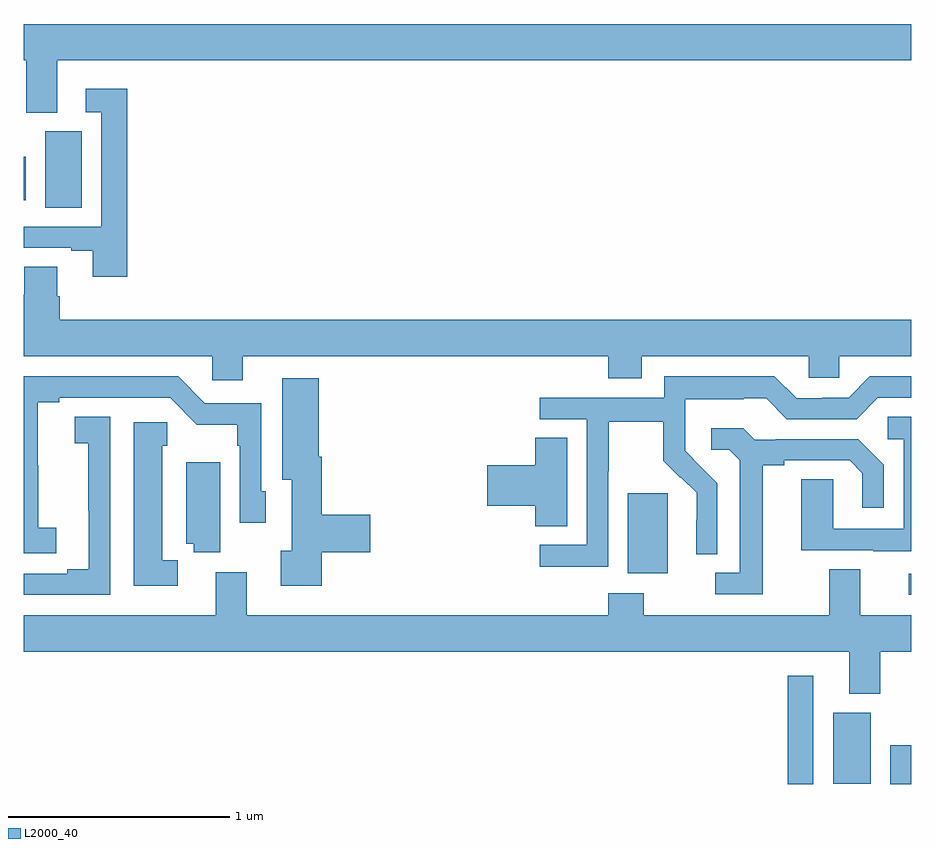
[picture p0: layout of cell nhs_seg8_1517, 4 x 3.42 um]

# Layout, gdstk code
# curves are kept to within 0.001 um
import gdstk
lib = gdstk.Library(unit=1e-6, precision=1e-09)
def R(c, l, rs):  # rectangles x0, y0, x1, y1
    for r in rs: c.add(gdstk.rectangle(r[:2], r[2:], *l))
def P(c, l, *ps):  # polygons
    for p in ps: c.add(gdstk.Polygon(p, *l))
L2000_40 = (2000, 40)

nhs_seg8_1517 = lib.new_cell('nhs_seg8_1517')
R(nhs_seg8_1517, L2000_40, [(210.442,1119.9,210.558,1120.387), (210.905,1119.9,211,1120.075), (210.647,1119.902,210.817,1120.222), (210.987,1120.752,211,1120.848), (209.723,1120.85,209.902,1121.211), (207.098,1122.496,207.262,1122.84), (207,1122.531,207.01,1122.727)])
P(nhs_seg8_1517, L2000_40, [(207.151,1123.16),(211,1123.16),(211,1123.324),(207,1123.324),(207,1123.16),(207.011,1123.16),(207.011,1122.925),(207.151,1122.925)],
  [(207.467,1123.033),(207.279,1123.033),(207.279,1122.927),(207.351,1122.927),(207.351,1122.411),(207,1122.411),(207,1122.315),(207.215,1122.315),(207.215,1122.303),(207.311,1122.303),(207.311,1122.186),(207.467,1122.186)],
  [(207.988,1121.828),(209.633,1121.828),(209.633,1121.729),(209.785,1121.729),(209.785,1121.828),(210.537,1121.828),(210.537,1121.73),(210.675,1121.73),(210.675,1121.828),(211,1121.828),(211,1121.992),(207.164,1121.992),(207.164,1122.098),(207.151,1122.098),(207.151,1122.23),(207.004,1122.23),(207.004,1122.105),(207,1122.105),(207,1121.828),(207.849,1121.828),(207.849,1121.718),(207.988,1121.718)],
  [(209.634,1121.308),(209.637,1121.308),(209.637,1121.532),(209.881,1121.532),(209.881,1121.357),(209.958,1121.28),(209.961,1121.283),(210.032,1121.213),(210.032,1121.09),(210.03,1121.09),(210.03,1120.936),(210.126,1120.936),(210.126,1121.254),(209.98,1121.402),(209.98,1121.499),(209.982,1121.499),(209.982,1121.633),(210.245,1121.633),(210.245,1121.637),(210.345,1121.637),(210.438,1121.544),(210.753,1121.544),(210.849,1121.64),(211,1121.64),(211,1121.736),(210.813,1121.736),(210.717,1121.64),(210.599,1121.64),(210.599,1121.637),(210.483,1121.637),(210.383,1121.737),(209.886,1121.737),(209.886,1121.64),(209.325,1121.64),(209.325,1121.544),(209.538,1121.544),(209.538,1120.977),(209.325,1120.977),(209.325,1120.879),(209.634,1120.879)],
  [(207.148,1121.054),(207.066,1121.054),(207.064,1121.62),(207.16,1121.62),(207.16,1121.64),(207.66,1121.64),(207.781,1121.519),(207.963,1121.519),(207.963,1121.423),(207.975,1121.423),(207.975,1121.076),(208.092,1121.076),(208.092,1121.22),(208.071,1121.22),(208.071,1121.616),(207.816,1121.616),(207.696,1121.736),(207,1121.736),(207,1120.939),(207.148,1120.939)],
  [(208.343,1120.943),(208.561,1120.943),(208.561,1121.114),(208.343,1121.114),(208.343,1121.374),(208.33,1121.374),(208.33,1121.728),(208.166,1121.728),(208.166,1121.27),(208.208,1121.27),(208.208,1120.95),(208.158,1120.95),(208.158,1120.794),(208.343,1120.794)],
  [(207.39,1121.555),(207.231,1121.555),(207.231,1121.435),(207.292,1121.435),(207.292,1121.131),(207.293,1121.131),(207.293,1120.868),(207.197,1120.868),(207.197,1120.848),(207,1120.848),(207,1120.752),(207.39,1120.752)],
  [(211,1121.555),(210.894,1121.555),(210.894,1121.454),(210.966,1121.454),(210.966,1121.049),(210.648,1121.049),(210.648,1121.273),(210.503,1121.273),(210.503,1120.953),(210.827,1120.953),(210.827,1120.949),(211,1120.949)],
  [(207.694,1120.908),(207.625,1120.908),(207.625,1121.424),(207.647,1121.424),(207.647,1121.53),(207.497,1121.53),(207.497,1120.793),(207.694,1120.793)],
  [(210.331,1121.336),(210.427,1121.336),(210.427,1121.358),(210.722,1121.358),(210.779,1121.301),(210.779,1121.145),(210.876,1121.145),(210.876,1121.338),(210.76,1121.454),(210.388,1121.454),(210.388,1121.451),(210.294,1121.451),(210.242,1121.503),(210.099,1121.503),(210.099,1121.406),(210.18,1121.406),(210.227,1121.359),(210.227,1120.851),(210.117,1120.851),(210.117,1120.755),(210.331,1120.755)],
  [(209.449,1121.459),(209.306,1121.459),(209.306,1121.336),(209.088,1121.336),(209.088,1121.153),(209.306,1121.153),(209.306,1121.062),(209.449,1121.062)],
  [(207.886,1121.35),(207.734,1121.35),(207.734,1120.982),(207.766,1120.982),(207.766,1120.945),(207.886,1120.945)],
  [(210.859,1120.496),(211,1120.496),(211,1120.66),(210.769,1120.66),(210.769,1120.868),(210.629,1120.868),(210.629,1120.66),(209.793,1120.66),(209.793,1120.759),(209.633,1120.759),(209.633,1120.66),(208.006,1120.66),(208.006,1120.855),(207.866,1120.855),(207.866,1120.66),(207,1120.66),(207,1120.496),(210.719,1120.496),(210.719,1120.307),(210.859,1120.307)])

lib.write_gds('nhs_seg8_1517.gds')
